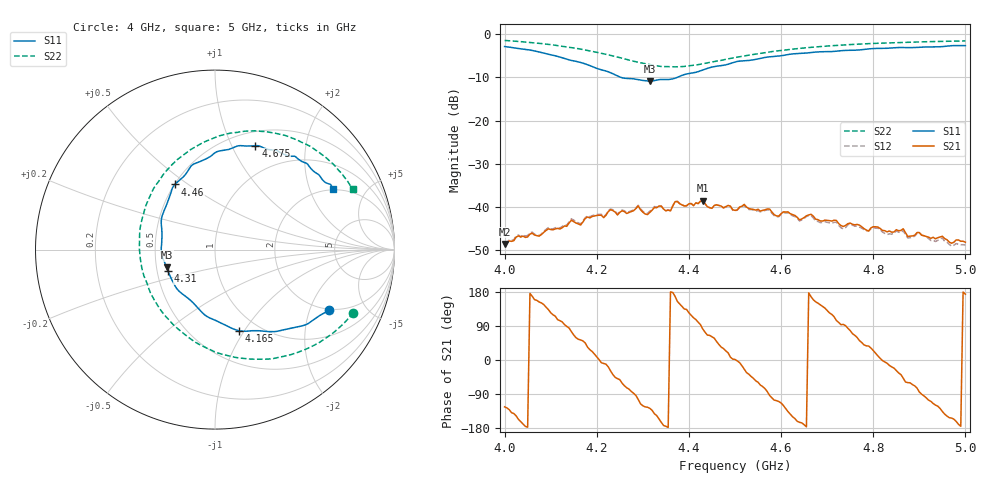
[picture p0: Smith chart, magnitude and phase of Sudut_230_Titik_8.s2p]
# Hz S RI R 50
! CMT, C1220, 16058040, 17.2.0/1
! Date: 15/08/2018 11:43:26
! Data: Format (Calibration Info)
! Freq  S11: Re/Im (F2)  S21: Re/Im (F2)  S12: Re/Im (F2)  S22: Re/Im (F2)
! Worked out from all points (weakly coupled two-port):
!   201 points, 4 GHz to 5 GHz, reference 50 ohm
!   highest |S21| = -38.53 dB at 4.43 GHz (marker M1); lowest = -48.5 dB at 4 GHz (marker M2)
!   lowest |S11| = -10.8 dB at 4.315 GHz (marker M3), VSWR 1.81, Z = 28.3 - j6.15 ohm
!   |S11| at or under -10 dB: 4.253 GHz to 4.374 GHz (121.7 MHz wide, 2.82 % of centre)
!   |S22| runs from -7.6 to -1.4 dB; largest |S21 - S12| = 0.00046
!   S11 on the Smith chart (normalised r, x): 4 GHz: 1.96, -2.74; 4.165 GHz: 0.81, -0.94; 4.31 GHz: 0.57, -0.15; 4.46 GHz: 0.50, +0.45; 4.675 GHz: 0.66, +1.24; 5 GHz: 1.96, +2.91
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4e9  0.6364 -0.3374  -0.00207 -0.00312  -0.00203 -0.00328  0.7708 -0.3511
4.145e9  0.2066 -0.4519  0.00185 0.00677  0.00179 0.00706  0.3617 -0.5988
4.165e9  0.1324 -0.452  0.00374 0.00493  0.0038 0.00509  0.2825 -0.6106
4.17e9  0.1168 -0.4473  0.00428 0.00517  0.00431 0.00537  0.2617 -0.6109
4.23e9  -0.0713 -0.3511  0.00815 -0.00449  0.00836 -0.0045  -0.00299 -0.5688
4.245e9  -0.1085 -0.3103  0.00527 -0.00612  0.00543 -0.00624  -0.0655 -0.5393
4.29e9  -0.2297 -0.1894  -0.00249 -0.00996  -0.00257 -0.0101  -0.2451 -0.4049
4.31e9  -0.262 -0.1192  -0.00462 -0.00672  -0.00478 -0.00692  -0.308 -0.3294
4.315e9  -0.2692 -0.0997  -0.00526 -0.00686  -0.00546 -0.00706  -0.322 -0.3073
4.335e9  -0.2959 -0.0342  -0.00932 -0.00429  -0.00948 -0.00417  -0.3694 -0.2157
4.36e9  -0.2964 0.0524  -0.00901 5.02e-05  -0.00908 0.000117  -0.4092 -0.094
4.37e9  -0.2957 0.0927  -0.0113 0.00242  -0.0113 0.00266  -0.4165 -0.0465
4.43e9  -0.2553 0.2885  0.00168 0.0117  0.00182 0.0116  -0.3863 0.2419
4.46e9  -0.2237 0.3629  0.00697 0.00796  0.00718 0.00781  -0.3273 0.3623
4.5e9  -0.1404 0.4553  0.00914 0.000213  0.00904 3.23e-05  -0.2248 0.4874
4.52e9  -0.1096 0.4805  0.00978 -0.00434  0.00945 -0.00449  -0.1676 0.5342
4.64e9  0.1529 0.5786  -0.00683 -0.0019  -0.00664 -0.00181  0.1838 0.66
4.67e9  0.2174 0.5782  -0.00731 0.0028  -0.0069 0.00284  0.2595 0.6583
4.675e9  0.2255 0.5789  -0.00647 0.00321  -0.00608 0.00315  0.2718 0.6584
4.835e9  0.4848 0.4905  0.00511 -0.0013  0.00475 -0.00111  0.5864 0.5364
4.865e9  0.5188 0.4719  0.00376 -0.00414  0.00362 -0.0039  0.6282 0.5036
5e9  0.656 0.3375  -0.00388 0.000421  -0.00362 0.000209  0.7662 0.3372
